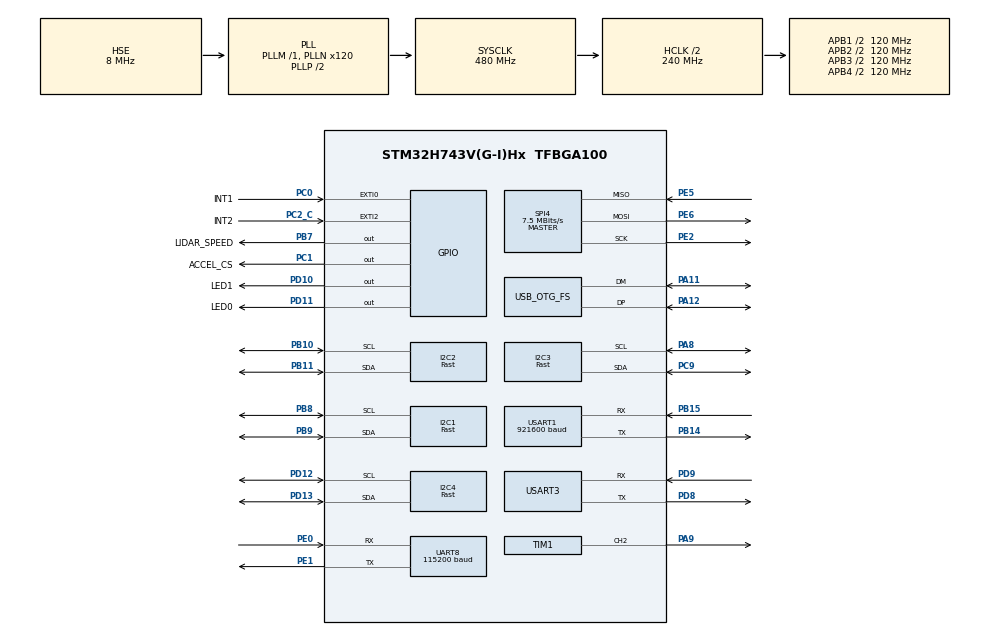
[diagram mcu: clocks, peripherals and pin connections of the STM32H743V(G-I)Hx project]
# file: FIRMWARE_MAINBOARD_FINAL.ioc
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CORTEX_M7.default_mode_Activation=1
Dma.Request0=USART1_RX
Dma.Request1=TIM1_CH2
Dma.Request2=UART8_RX
Dma.TIM1_CH2.1.Direction=DMA_MEMORY_TO_PERIPH
Dma.TIM1_CH2.1.EventEnable=DISABLE
Dma.TIM1_CH2.1.FIFOMode=DMA_FIFOMODE_DISABLE
Dma.TIM1_CH2.1.Instance=DMA1_Stream0
Dma.TIM1_CH2.1.MemDataAlignment=DMA_MDATAALIGN_WORD
Dma.TIM1_CH2.1.MemInc=DMA_MINC_ENABLE
Dma.TIM1_CH2.1.Mode=DMA_NORMAL
Dma.TIM1_CH2.1.PeriphDataAlignment=DMA_PDATAALIGN_WORD
Dma.TIM1_CH2.1.PeriphInc=DMA_PINC_DISABLE
Dma.TIM1_CH2.1.Polarity=HAL_DMAMUX_REQ_GEN_RISING
Dma.TIM1_CH2.1.Priority=DMA_PRIORITY_LOW
Dma.TIM1_CH2.1.RequestNumber=1
Dma.TIM1_CH2.1.SignalID=NONE
Dma.TIM1_CH2.1.SyncEnable=DISABLE
Dma.TIM1_CH2.1.SyncPolarity=HAL_DMAMUX_SYNC_NO_EVENT
Dma.TIM1_CH2.1.SyncRequestNumber=1
Dma.TIM1_CH2.1.SyncSignalID=NONE
Dma.UART8_RX.2.Direction=DMA_PERIPH_TO_MEMORY
Dma.UART8_RX.2.EventEnable=DISABLE
Dma.UART8_RX.2.FIFOMode=DMA_FIFOMODE_DISABLE
Dma.UART8_RX.2.Instance=DMA1_Stream2
Dma.UART8_RX.2.MemDataAlignment=DMA_MDATAALIGN_BYTE
Dma.UART8_RX.2.MemInc=DMA_MINC_ENABLE
Dma.UART8_RX.2.Mode=DMA_CIRCULAR
Dma.UART8_RX.2.PeriphDataAlignment=DMA_PDATAALIGN_BYTE
Dma.UART8_RX.2.PeriphInc=DMA_PINC_DISABLE
Dma.UART8_RX.2.Polarity=HAL_DMAMUX_REQ_GEN_RISING
Dma.UART8_RX.2.Priority=DMA_PRIORITY_LOW
Dma.UART8_RX.2.RequestNumber=1
Dma.UART8_RX.2.SignalID=NONE
Dma.UART8_RX.2.SyncEnable=DISABLE
Dma.UART8_RX.2.SyncPolarity=HAL_DMAMUX_SYNC_NO_EVENT
Dma.UART8_RX.2.SyncRequestNumber=1
Dma.UART8_RX.2.SyncSignalID=NONE
Dma.USART1_RX.0.Direction=DMA_PERIPH_TO_MEMORY
Dma.USART1_RX.0.EventEnable=DISABLE
Dma.USART1_RX.0.FIFOMode=DMA_FIFOMODE_DISABLE
Dma.USART1_RX.0.Instance=DMA1_Stream1
Dma.USART1_RX.0.MemDataAlignment=DMA_MDATAALIGN_BYTE
Dma.USART1_RX.0.MemInc=DMA_MINC_ENABLE
Dma.USART1_RX.0.Mode=DMA_CIRCULAR
Dma.USART1_RX.0.PeriphDataAlignment=DMA_PDATAALIGN_BYTE
Dma.USART1_RX.0.PeriphInc=DMA_PINC_DISABLE
Dma.USART1_RX.0.Polarity=HAL_DMAMUX_REQ_GEN_RISING
Dma.USART1_RX.0.Priority=DMA_PRIORITY_LOW
Dma.USART1_RX.0.RequestNumber=1
Dma.USART1_RX.0.SignalID=NONE
Dma.USART1_RX.0.SyncEnable=DISABLE
Dma.USART1_RX.0.SyncPolarity=HAL_DMAMUX_SYNC_NO_EVENT
Dma.USART1_RX.0.SyncRequestNumber=1
Dma.USART1_RX.0.SyncSignalID=NONE
FREERTOS.INCLUDE_uxTaskGetStackHighWaterMark2=1
FREERTOS.INCLUDE_vTaskDelayUntil=1
FREERTOS.Tasks01=maintask,0,256,Startmaintask,Default,NULL,Dynamic,NULL,NULL;Sensor_parse,2,512,Startsensorparse,Default,NULL,Dynamic,NULL,NULL;Pimptask,-1,512,StartPimptask,Default,NULL,Dynamic,NULL,NULL;Odom_task,2,512,StartOdomtask,Default,NULL,Dynamic,NULL,NULL;Clustertask,1,512,StartClustertask,Default,NULL,Dynamic,NULL,NULL
FREERTOS.configTOTAL_HEAP_SIZE=32768
FREERTOS.configUSE_NEWLIB_REENTRANT=1
I2C1.I2C_Speed_Mode=I2C_Fast
I2C1.Timing=0x00B03FDB
I2C2.I2C_Speed_Mode=I2C_Fast
I2C2.Timing=0x00B03FDB
I2C3.I2C_Speed_Mode=I2C_Fast
I2C3.Timing=0x00B03FDB
I2C4.I2C_Speed_Mode=I2C_Fast
I2C4.Timing=0x00B03FDB
Mcu.Family=STM32H7
Mcu.Name=STM32H743V(G-I)Hx
Mcu.Package=TFBGA100
NVIC.DMA1_Stream0_IRQn=true\:5\:0\:false\:false\:true\:true\:false\:true\:true
NVIC.DMA1_Stream1_IRQn=true\:5\:0\:false\:false\:true\:true\:false\:true\:true
NVIC.DMA1_Stream2_IRQn=true\:5\:0\:false\:false\:true\:true\:false\:true\:true
NVIC.EXTI0_IRQn=true\:5\:0\:false\:false\:true\:true\:true\:true\:true
NVIC.EXTI2_IRQn=true\:5\:0\:false\:false\:true\:true\:true\:true\:true
NVIC.OTG_FS_IRQn=true\:5\:0\:false\:false\:true\:true\:false\:true\:true
NVIC.PriorityGroup=NVIC_PRIORITYGROUP_4
NVIC.TIM2_IRQn=true\:15\:0\:false\:false\:true\:false\:false\:true\:true
NVIC.TimeBase=TIM2_IRQn
NVIC.TimeBaseIP=TIM2
PA11.Mode=Device_Only
PA11.Signal=USB_OTG_FS_DM
PA12.Mode=Device_Only
PA12.Signal=USB_OTG_FS_DP
PA13\ (JTMS/SWDIO).Mode=Serial_Wire
PA13\ (JTMS/SWDIO).Signal=DEBUG_JTMS-SWDIO
PA14\ (JTCK/SWCLK).Mode=Serial_Wire
PA14\ (JTCK/SWCLK).Signal=DEBUG_JTCK-SWCLK
PA8.Mode=I2C
PA8.Signal=I2C3_SCL
PA9.Signal=S_TIM1_CH2
PB10.GPIO_Pu=GPIO_NOPULL
PB10.Mode=I2C
PB10.Signal=I2C2_SCL
PB11.GPIO_Pu=GPIO_NOPULL
PB11.Mode=I2C
PB11.Signal=I2C2_SDA
PB14.Mode=Asynchronous
PB14.Signal=USART1_TX
PB15.Mode=Asynchronous
PB15.Signal=USART1_RX
PB7.GPIO_Label=LIDAR_SPEED
PB7.Signal=GPIO_Output
PB8.Mode=I2C
PB8.Signal=I2C1_SCL
PB9.Mode=I2C
PB9.Signal=I2C1_SDA
PC0.GPIO_Label=INT1
PC0.GPIO_ModeDefaultEXTI=GPIO_MODE_IT_RISING
PC0.Signal=GPXTI0
PC1.GPIO_Label=ACCEL_CS
PC1.Signal=GPIO_Output
PC2_C.GPIO_Label=INT2
PC2_C.Signal=GPXTI2
PC9.Mode=I2C
PC9.Signal=I2C3_SDA
PD10.GPIO_Label=LED1
PD10.Signal=GPIO_Output
PD11.GPIO_Label=LED0
PD11.Signal=GPIO_Output
PD12.Mode=I2C
PD12.Signal=I2C4_SCL
PD13.Mode=I2C
PD13.Signal=I2C4_SDA
PD8.Mode=Asynchronous
PD8.Signal=USART3_TX
PD9.Mode=Asynchronous
PD9.Signal=USART3_RX
PE0.Mode=Asynchronous
PE0.Signal=UART8_RX
PE1.Mode=Asynchronous
PE1.Signal=UART8_TX
PE2.Mode=Full_Duplex_Master
PE2.Signal=SPI4_SCK
PE5.Mode=Full_Duplex_Master
PE5.Signal=SPI4_MISO
PE6.Mode=Full_Duplex_Master
PE6.Signal=SPI4_MOSI
PH0-OSC_IN\ (PH0).Mode=HSE-External-Oscillator
PH0-OSC_IN\ (PH0).Signal=RCC_OSC_IN
PH1-OSC_OUT\ (PH1).Mode=HSE-External-Oscillator
PH1-OSC_OUT\ (PH1).Signal=RCC_OSC_OUT
ProjectManager.HeapSize=0x200
ProjectManager.StackSize=0x400
ProjectManager.TargetToolchain=STM32CubeIDE
RCC.ADCFreq_Value=75000000
RCC.APB1Freq_Value=120000000
RCC.APB2Freq_Value=120000000
RCC.APB3Freq_Value=120000000
RCC.APB4Freq_Value=120000000
RCC.CortexFreq_Value=480000000
RCC.D1PPRE=RCC_APB3_DIV2
RCC.D2PPRE1=RCC_APB1_DIV2
RCC.D2PPRE2=RCC_APB2_DIV2
RCC.D3PPRE=RCC_APB4_DIV2
RCC.DIVM1=1
RCC.DIVM2=8
RCC.DIVM3=2
RCC.DIVN1=120
RCC.DIVN2=150
RCC.DIVN3=130
RCC.DIVP3=10
RCC.HCLKFreq_Value=240000000
RCC.HPRE=RCC_HCLK_DIV2
RCC.HSE_VALUE=8000000
RCC.PLL2FRACN=0
RCC.PLL3FRACN=0
RCC.PLLFRACN=0
RCC.PLLSourceVirtual=RCC_PLLSOURCE_HSE
RCC.SAI23CLockSelection=RCC_SAI23CLKSOURCE_PLL2
RCC.SPI123CLockSelection=RCC_SPI123CLKSOURCE_PLL3
RCC.SYSCLKFreq_VALUE=480000000
RCC.SYSCLKSource=RCC_SYSCLKSOURCE_PLLCLK
RCC.USBCLockSelection=RCC_USBCLKSOURCE_HSI48
RCC.USBFreq_Value=48000000
SH.S_TIM1_CH2.0=TIM1_CH2,PWM Generation2 CH2
SPI4.BaudRatePrescaler=SPI_BAUDRATEPRESCALER_16
SPI4.CLKPhase=SPI_PHASE_2EDGE
SPI4.CLKPolarity=SPI_POLARITY_HIGH
SPI4.CalculateBaudRate=7.5 MBits/s
SPI4.DataSize=SPI_DATASIZE_8BIT
SPI4.Direction=SPI_DIRECTION_2LINES
SPI4.Mode=SPI_MODE_MASTER
SPI4.VirtualType=VM_MASTER
TIM1.AutoReloadPreload=TIM_AUTORELOAD_PRELOAD_ENABLE
TIM1.Channel-PWM\ Generation2\ CH2=TIM_CHANNEL_2
TIM1.Period=100-1
TIM1.Prescaler=3-1
UART8.BaudRate=115200
USART1.BaudRate=921600
USART1.VirtualMode-Asynchronous=VM_ASYNC
USART3.VirtualMode-Asynchronous=VM_ASYNC
USB_DEVICE.CLASS_NAME_FS=CDC
USB_DEVICE.VirtualMode-CDC_FS=Cdc
USB_DEVICE.VirtualModeFS=Cdc_FS
USB_OTG_FS.VirtualMode=Device_Only
VP_FREERTOS_VS_CMSIS_V1.Mode=CMSIS_V1
VP_MEMORYMAP_VS_MEMORYMAP.Mode=CurAppReg
VP_SYS_VS_tim2.Mode=TIM2
VP_TIM1_VS_ClockSourceINT.Mode=Internal
VP_USB_DEVICE_VS_USB_DEVICE_CDC_FS.Mode=CDC_FS
board=custom

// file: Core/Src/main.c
/* USER CODE BEGIN Header */
/**
 ******************************************************************************
 * @file           : main.c
 * @brief          : Main program body
 ******************************************************************************
 * @attention
 *
 * Copyright (c) 2025 STMicroelectronics.
 * All rights reserved.
 *
 * This software is licensed under terms that can be found in the LICENSE file
 * in the root directory of this software component.
 * If no LICENSE file comes with this software, it is provided AS-IS.
 *
 ******************************************************************************
 */
/* USER CODE END Header */
#include "main.h"
#include "cmsis_os.h"
#include "dma.h"
#include "i2c.h"
#include "spi.h"
#include "tim.h"
#include "usart.h"
#include "usb_device.h"
#include "gpio.h"

/* USER CODE BEGIN PV */
adxl343_t adxldata;
int flag=0;
uint32_t LEDDMABUF[DMABUFLEN];
uint8_t DMA_COMPLETE_FLAG=0;
MOTOR_COM com_struct;
Lidar_t lidar_struct;

/* USER CODE END PV */

void SystemClock_Config(void);
static void MPU_Config(void);
void MX_FREERTOS_Init(void);

/* USER CODE BEGIN 0 */
void HAL_GPIO_EXTI_Callback(uint16_t GPIO_Pin){

	if(GPIO_Pin == GPIO_PIN_0){

		if(flag == 0 ){
			LED_Setcolour(255,0,0,0,0,255);

		}
		if(flag == 1){
			LED_Setcolour(0,0,255,255,0,0);

		}

		flag=1-flag;

		ADXL343_INT_HANDLER(&adxldata, 100);
	}
}

void HAL_TIM_PWM_PulseFinishedCallback(TIM_HandleTypeDef *htim){

	LED_Callback();
}

void HAL_UART_RxHalfCpltCallback(UART_HandleTypeDef *huart)
{
	if (huart->Instance == USART1)
	{
#ifdef NORMAL_MODE
		com_struct.write_index = (uint16_t)(MOTOR_COM_RX_BUF_SIZE / 2u);
#endif
#ifdef DEBUG_MODE
		(void)CDC_Transmit_FS(&com_struct.dbg_rx_buf[0], DEBUG_RX_BUF_SIZE / 2u);
#endif
	}
	if (huart->Instance == UART8)
	{
		lidar_struct.parse_struct.ylidar_write_index=YLIDAR_CIRC_BUF_SIZE/2u;
	}
	if (huart->Instance == USART3)
	{
	}
}

void HAL_UART_RxCpltCallback(UART_HandleTypeDef *huart)
{
	if (huart->Instance == USART1)
	{
#ifdef NORMAL_MODE
		com_struct.write_index = 0;
#endif
#ifdef DEBUG_MODE
		(void)CDC_Transmit_FS(&com_struct.dbg_rx_buf[DEBUG_RX_BUF_SIZE / 2u],
				DEBUG_RX_BUF_SIZE / 2u);
#endif
	}
	if (huart->Instance == UART8)
	{
		lidar_struct.parse_struct.ylidar_write_index=0;
	}
	if (huart->Instance == USART3)
	{
	}
}

/* USER CODE END 0 */

int main(void)
{

	/* MPU Configuration--------------------------------------------------------*/
	MPU_Config();

	/* MCU Configuration--------------------------------------------------------*/

	/* Reset of all peripherals, Initializes the Flash interface and the Systick. */
	HAL_Init();

	/* Configure the system clock */
	SystemClock_Config();

	/* USER CODE BEGIN SysInit */

	// Enable TRC (Trace) access
	CoreDebug->DEMCR |= CoreDebug_DEMCR_TRCENA_Msk;

	// Reset the cycle counter
	DWT->CYCCNT = 0;

	// Enable the cycle counter
	DWT->CTRL |= DWT_CTRL_CYCCNTENA_Msk;

	/* USER CODE END SysInit */

	/* Initialize all configured peripherals */
	MX_GPIO_Init();
	MX_DMA_Init();
	MX_SPI4_Init();
	MX_I2C2_Init();
	MX_TIM1_Init();
	MX_USART1_UART_Init();
	MX_I2C1_Init();
	MX_I2C3_Init();
	MX_I2C4_Init();
	MX_UART8_Init();
	MX_USART3_UART_Init();
	/* USER CODE BEGIN 2 */

	MotorCom_Init(&com_struct,&huart1);

	ADXL343_Init(&adxldata, &hspi4, ACCEL_CS_GPIO_Port, ACCEL_CS_Pin,ADXL343_BW_RATE_VALUE, ADXL343_DATA_FMT_RANGE_4G,100);
	LED_Init();

	Lidar_Init(&lidar_struct,&huart8,LIDAR_SPEED_GPIO_Port, LIDAR_SPEED_Pin);

	LED_Setcolour(0,255,0,0,255,0);

	//  ssd1306_Init();
	//  ssd1306_Fill(White);
	//  ssd1306_SetCursor(32,32);
	//  ssd1306_UpdateScreen();

	/* USER CODE END 2 */

	/* Call init function for freertos objects (in cmsis_os2.c) */
	MX_FREERTOS_Init();

	/* Start scheduler */
	osKernelStart();

	/* We should never get here as control is now taken by the scheduler */

	/* Infinite loop */
	while (1)
	{

	}
}

void SystemClock_Config(void)
{
	RCC_OscInitTypeDef RCC_OscInitStruct = {0};
	RCC_ClkInitTypeDef RCC_ClkInitStruct = {0};

	/** Supply configuration update enable
	 */
	HAL_PWREx_ConfigSupply(PWR_LDO_SUPPLY);

	/** Configure the main internal regulator output voltage
	 */
	__HAL_PWR_VOLTAGESCALING_CONFIG(PWR_REGULATOR_VOLTAGE_SCALE0);

	while(!__HAL_PWR_GET_FLAG(PWR_FLAG_VOSRDY)) {}

	/** Initializes the RCC Oscillators according to the specified parameters
	 * in the RCC_OscInitTypeDef structure.
	 */
	RCC_OscInitStruct.OscillatorType = RCC_OSCILLATORTYPE_HSI48|RCC_OSCILLATORTYPE_HSE;
	RCC_OscInitStruct.HSEState = RCC_HSE_ON;
	RCC_OscInitStruct.HSI48State = RCC_HSI48_ON;
	RCC_OscInitStruct.PLL.PLLState = RCC_PLL_ON;
	RCC_OscInitStruct.PLL.PLLSource = RCC_PLLSOURCE_HSE;
	RCC_OscInitStruct.PLL.PLLM = 1;
	RCC_OscInitStruct.PLL.PLLN = 120;
	RCC_OscInitStruct.PLL.PLLP = 2;
	RCC_OscInitStruct.PLL.PLLQ = 2;
	RCC_OscInitStruct.PLL.PLLR = 2;
	RCC_OscInitStruct.PLL.PLLRGE = RCC_PLL1VCIRANGE_3;
	RCC_OscInitStruct.PLL.PLLVCOSEL = RCC_PLL1VCOWIDE;
	RCC_OscInitStruct.PLL.PLLFRACN = 0;
	if (HAL_RCC_OscConfig(&RCC_OscInitStruct) != HAL_OK)
	{
		Error_Handler();
	}

	/** Initializes the CPU, AHB and APB buses clocks
	 */
	RCC_ClkInitStruct.ClockType = RCC_CLOCKTYPE_HCLK|RCC_CLOCKTYPE_SYSCLK
			|RCC_CLOCKTYPE_PCLK1|RCC_CLOCKTYPE_PCLK2
			|RCC_CLOCKTYPE_D3PCLK1|RCC_CLOCKTYPE_D1PCLK1;
	RCC_ClkInitStruct.SYSCLKSource = RCC_SYSCLKSOURCE_PLLCLK;
	RCC_ClkInitStruct.SYSCLKDivider = RCC_SYSCLK_DIV1;
	RCC_ClkInitStruct.AHBCLKDivider = RCC_HCLK_DIV2;
	RCC_ClkInitStruct.APB3CLKDivider = RCC_APB3_DIV2;
	RCC_ClkInitStruct.APB1CLKDivider = RCC_APB1_DIV2;
	RCC_ClkInitStruct.APB2CLKDivider = RCC_APB2_DIV2;
	RCC_ClkInitStruct.APB4CLKDivider = RCC_APB4_DIV2;

	if (HAL_RCC_ClockConfig(&RCC_ClkInitStruct, FLASH_LATENCY_4) != HAL_OK)
	{
		Error_Handler();
	}
}

/* MPU Configuration */

void MPU_Config(void)
{
	MPU_Region_InitTypeDef MPU_InitStruct = {0};

	/* Disables the MPU */
	HAL_MPU_Disable();

	/** Initializes and configures the Region and the memory to be protected
	 */
	MPU_InitStruct.Enable = MPU_REGION_ENABLE;
	MPU_InitStruct.Number = MPU_REGION_NUMBER0;
	MPU_InitStruct.BaseAddress = 0x0;
	MPU_InitStruct.Size = MPU_REGION_SIZE_4GB;
	MPU_InitStruct.SubRegionDisable = 0x87;
	MPU_InitStruct.TypeExtField = MPU_TEX_LEVEL0;
	MPU_InitStruct.AccessPermission = MPU_REGION_NO_ACCESS;
	MPU_InitStruct.DisableExec = MPU_INSTRUCTION_ACCESS_DISABLE;
	MPU_InitStruct.IsShareable = MPU_ACCESS_SHAREABLE;
	MPU_InitStruct.IsCacheable = MPU_ACCESS_NOT_CACHEABLE;
	MPU_InitStruct.IsBufferable = MPU_ACCESS_NOT_BUFFERABLE;

	HAL_MPU_ConfigRegion(&MPU_InitStruct);
	/* Enables the MPU */
	HAL_MPU_Enable(MPU_PRIVILEGED_DEFAULT);

}

void HAL_TIM_PeriodElapsedCallback(TIM_HandleTypeDef *htim)
{
	if (htim->Instance == TIM2)
	{
		HAL_IncTick();
	}
}

void Error_Handler(void)
{
	__disable_irq();
	while (1)
	{
	}
}

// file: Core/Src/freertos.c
/* USER CODE BEGIN Header */
/**
 ******************************************************************************
 * File Name          : freertos.c
 * Description        : Code for freertos applications
 ******************************************************************************
 * @attention
 *
 * Copyright (c) 2025 STMicroelectronics.
 * All rights reserved.
 *
 * This software is licensed under terms that can be found in the LICENSE file
 * in the root directory of this software component.
 * If no LICENSE file comes with this software, it is provided AS-IS.
 *
 ******************************************************************************
 */
/* USER CODE END Header */

#include "FreeRTOS.h"
#include "task.h"
#include "main.h"
#include "cmsis_os.h"

/* USER CODE BEGIN Includes */
#include "adxl343.h"
#include "mcc_com_master.h"
#include "odometry.h"
#include "control.h"
#include "vl53l0x.h"
#include "lidar.h"
/* USER CODE END Includes */

/* USER CODE BEGIN Variables */
extern uint16_t ylidar_read_index;
extern uint16_t ylidar_write_index;

extern TOF_t tof_struct;
extern uint8_t ylidar_finalbuffer[1024];
extern adxl343_t adxldata;
extern MOTOR_COM com_struct;
extern Lidar_t lidar_struct;

/* USER CODE END Variables */
osThreadId maintaskHandle;
osThreadId Sensor_parseHandle;
osThreadId PimptaskHandle;
osThreadId Odom_taskHandle;
osThreadId ClustertaskHandle;

void Startmaintask(void const * argument);
void Startsensorparse(void const * argument);
void StartPimptask(void const * argument);
void StartOdomtask(void const * argument);
void StartClustertask(void const * argument);

extern void MX_USB_DEVICE_Init(void);
void MX_FREERTOS_Init(void); /* (MISRA C 2004 rule 8.1) */

/* GetIdleTaskMemory prototype (linked to static allocation support) */
void vApplicationGetIdleTaskMemory( StaticTask_t **ppxIdleTaskTCBBuffer, StackType_t **ppxIdleTaskStackBuffer, uint32_t *pulIdleTaskStackSize );

/* USER CODE BEGIN GET_IDLE_TASK_MEMORY */
static StaticTask_t xIdleTaskTCBBuffer;
static StackType_t xIdleStack[configMINIMAL_STACK_SIZE];

void vApplicationGetIdleTaskMemory( StaticTask_t **ppxIdleTaskTCBBuffer, StackType_t **ppxIdleTaskStackBuffer, uint32_t *pulIdleTaskStackSize )
{
	*ppxIdleTaskTCBBuffer = &xIdleTaskTCBBuffer;
	*ppxIdleTaskStackBuffer = &xIdleStack[0];
	*pulIdleTaskStackSize = configMINIMAL_STACK_SIZE;
	/* place for user code */
}
/* USER CODE END GET_IDLE_TASK_MEMORY */

void MX_FREERTOS_Init(void) {

	/* Create the thread(s) */
	/* definition and creation of maintask */
	osThreadDef(maintask, Startmaintask, osPriorityNormal, 0, 256);
	maintaskHandle = osThreadCreate(osThread(maintask), NULL);

	/* definition and creation of Sensor_parse */
	osThreadDef(Sensor_parse, Startsensorparse, osPriorityHigh, 0, 512);
	Sensor_parseHandle = osThreadCreate(osThread(Sensor_parse), NULL);

	/* definition and creation of Pimptask */
	osThreadDef(Pimptask, StartPimptask, osPriorityBelowNormal, 0, 512);
	PimptaskHandle = osThreadCreate(osThread(Pimptask), NULL);

	/* definition and creation of Odom_task */
	osThreadDef(Odom_task, StartOdomtask, osPriorityHigh, 0, 512);
	Odom_taskHandle = osThreadCreate(osThread(Odom_task), NULL);

	/* definition and creation of Clustertask */
	osThreadDef(Clustertask, StartClustertask, osPriorityAboveNormal, 0, 512);
	ClustertaskHandle = osThreadCreate(osThread(Clustertask), NULL);

}

void Startmaintask(void const * argument)
{
	/* init code for USB_DEVICE */
	MX_USB_DEVICE_Init();
	/* USER CODE BEGIN Startmaintask */
	TickType_t xLastWakeTime;
	const TickType_t period = pdMS_TO_TICKS(5000);
	xLastWakeTime = xTaskGetTickCount();
	//	int i=0;						//everything commented is to test the motors
	/* Infinite loop */
	for(;;)
	{
		//	  switch(i){
		//	  case 0:
		//		  com_struct.w0=154.0f;
		//		  com_struct.w1=110.0f;
		//		  com_struct.w2=43.0f;
		//		  i++;
		//		  break;
		//	  case 1:
		//		  com_struct.w0=74.0f;
		//		  com_struct.w1=195.0f;
		//		  com_struct.w2=14.0f;
		//		  i--;
		//		  break;
		//	  }

		HAL_GPIO_TogglePin(GPIOD,GPIO_PIN_11);
		vTaskDelayUntil(&xLastWakeTime, period);
	}
	/* USER CODE END Startmaintask */
}

void Startsensorparse(void const * argument)
{
	/* USER CODE BEGIN Startsensorparse */
	VL53L0X_Init(&tof_struct.tof[0], TOF0_I2C, 0, 0.3f);
	VL53L0X_Init(&tof_struct.tof[1], TOF1_I2C, 1, 0.3f);
	VL53L0X_Init(&tof_struct.tof[2], TOF2_I2C, 2, 0.3f);

	TickType_t xLastWakeTime;
	const TickType_t period = pdMS_TO_TICKS(10);
	xLastWakeTime = xTaskGetTickCount();
	/* Infinite loop */
	for(;;)
	{
		ylidar_fsm(&lidar_struct);
		Clusterize(&lidar_struct);
		VL53L0X_Update(&tof_struct.tof[0], &tof_struct);
		VL53L0X_Update(&tof_struct.tof[1], &tof_struct);
		VL53L0X_Update(&tof_struct.tof[2], &tof_struct);
//		ADXL343_ReadXYZ(&adxldata, 100);
		vTaskDelayUntil(&xLastWakeTime, period);
	}
	/* USER CODE END Startsensorparse */
}

void StartPimptask(void const * argument)
{
	/* USER CODE BEGIN StartPimptask */
	TickType_t xLastWakeTime;
	const TickType_t period = pdMS_TO_TICKS(33);
	xLastWakeTime = xTaskGetTickCount();
	/* Infinite loop */
	for(;;)
	{
		vTaskDelayUntil(&xLastWakeTime, period);
	}
	/* USER CODE END StartPimptask */
}

void StartOdomtask(void const * argument)
{
	/* USER CODE BEGIN StartOdomtask */

	//odometry_Init();
	TickType_t xLastWakeTime;
	const TickType_t period = pdMS_TO_TICKS(10);
	xLastWakeTime = xTaskGetTickCount();
	/* Infinite loop */
	for(;;)
	{
		MotorCom_Process(&com_struct);
		vTaskDelayUntil(&xLastWakeTime, period);
	}
	/* USER CODE END StartOdomtask */
}

void StartClustertask(void const * argument)
{
	/* USER CODE BEGIN StartClustertask */

	TickType_t xLastWakeTime;
	const TickType_t period = pdMS_TO_TICKS(100);
	xLastWakeTime = xTaskGetTickCount();
	/* Infinite loop */
	for(;;)
	{
		HAL_GPIO_TogglePin(GPIOD,GPIO_PIN_10);
		vTaskDelayUntil(&xLastWakeTime, period);
	}
	/* USER CODE END StartClustertask */
}
